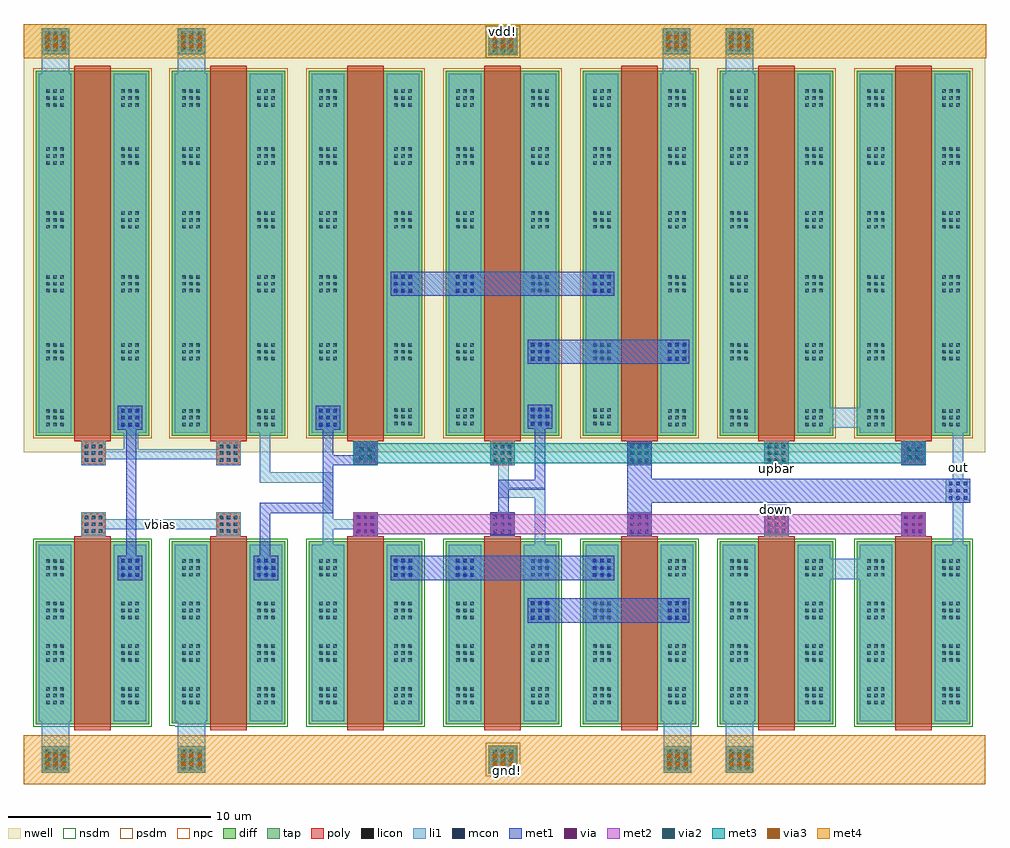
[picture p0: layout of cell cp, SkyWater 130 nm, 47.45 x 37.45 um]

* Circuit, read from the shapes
.subckt cp down gnd! out upbar vbias vdd!
XM1 n1 vbias gnd! gnd! sky130_fd_pr__nfet_01v8 w=9 l=1.8
XM2 n2 vbias gnd! gnd! sky130_fd_pr__nfet_01v8 w=9 l=1.8
XM3 n3 n4 n4 gnd! sky130_fd_pr__nfet_01v8 w=9 l=1.8
XM4 gnd! vdd! n3 gnd! sky130_fd_pr__nfet_01v8 w=9 l=1.8
XM5 gnd! out n3 gnd! sky130_fd_pr__nfet_01v8 w=9 l=1.8
XM6 n5 down gnd! gnd! sky130_fd_pr__nfet_01v8 w=9 l=1.8
XM7 out n4 n5 gnd! sky130_fd_pr__nfet_01v8 w=9 l=1.8
XM8 n1 n1 vdd! vdd! sky130_fd_pr__pfet_01v8 w=18 l=1.8
XM9 n4 n1 vdd! vdd! sky130_fd_pr__pfet_01v8 w=18 l=1.8
XM10 n6 n2 n2 vdd! sky130_fd_pr__pfet_01v8 w=18 l=1.8
XM11 vdd! gnd! n6 vdd! sky130_fd_pr__pfet_01v8 w=18 l=1.8
XM12 vdd! out n6 vdd! sky130_fd_pr__pfet_01v8 w=18 l=1.8
XM13 n7 upbar vdd! vdd! sky130_fd_pr__pfet_01v8 w=18 l=1.8
XM14 out n2 n7 vdd! sky130_fd_pr__pfet_01v8 w=18 l=1.8
.ends

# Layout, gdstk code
import gdstk
lib = gdstk.Library(unit=1e-6, precision=1e-09)
def R(c, l, rs):  # rectangles x0, y0, x1, y1
    for r in rs: c.add(gdstk.rectangle(r[:2], r[2:], *l))
def A(c, l, x, y, w, h, nx, ny, dx, dy):  # array of equal rectangles
    R(c, l, [(x+i*dx, y+j*dy, x+i*dx+w, y+j*dy+h) for i in range(nx) for j in range(ny)])
nwell = (64, 20)
diff = (65, 20)
tap = (65, 44)
poly = (66, 20)
licon = (66, 44)
li1 = (67, 20)
mcon = (67, 44)
met1 = (68, 20)
via = (68, 44)
met2 = (69, 20)
via2 = (69, 44)
met3 = (70, 20)
via3 = (70, 44)
met4 = (71, 20)
nsdm = (93, 44)
psdm = (94, 20)
npc = (95, 20)

c_cp = lib.new_cell('cp')
R(c_cp, nwell, [(-2.45,-0.8,44.95,18.6), (-2.45,18.6,45,20.3)])
A(c_cp, diff, 11.6, -14.2, 5.6, 9, 5, 1, 6.75, 0)
A(c_cp, diff, 4.85, 0, 5.6, 18, 6, 1, 6.75, 0)
R(c_cp, diff, [(-1.85,-14.2,3.75,-5.2), (5.15,-14.2,10.45,-14.15), (4.85,-14.15,10.45,-5.2), (-1.85,0,3.75,18)])
R(c_cp, tap, [(20.45,-16.65,21.9,-15.25), (20.45,18.75,21.9,20.1)])
A(c_cp, poly, 6.75, -14.5, 1.8, 9.55, 6, 1, 6.75, 0)
A(c_cp, poly, 7.05, -4.95, 1.2, 1.2, 6, 2, 6.75, 3.5)
A(c_cp, poly, 6.75, -0.25, 1.8, 18.5, 6, 1, 6.75, 0)
R(c_cp, poly, [(0.05,-14.5,1.85,-4.95), (0.4,-4.95,1.6,-3.75), (0.4,-1.45,1.6,-0.25), (0.05,-0.25,1.85,18.25)])
A(c_cp, licon, 20.75, -16.375, 0.17, 0.17, 3, 3, 0.34, 0.34)
A(c_cp, licon, -1.325, -13.225, 0.17, 0.17, 3, 3, 0.34, 0.34)
A(c_cp, licon, 2.375, -13.225, 0.17, 0.17, 3, 3, 0.34, 0.34)
A(c_cp, licon, 5.375, -13.225, 0.17, 0.17, 3, 3, 0.34, 0.34)
A(c_cp, licon, 9.075, -13.225, 0.17, 0.17, 3, 3, 0.34, 0.34)
A(c_cp, licon, 12.125, -13.225, 0.17, 0.17, 3, 3, 0.34, 0.34)
A(c_cp, licon, 15.825, -13.225, 0.17, 0.17, 3, 3, 0.34, 0.34)
A(c_cp, licon, 18.875, -13.225, 0.17, 0.17, 3, 3, 0.34, 0.34)
A(c_cp, licon, 22.575, -13.225, 0.17, 0.17, 3, 3, 0.34, 0.34)
A(c_cp, licon, 25.625, -13.225, 0.17, 0.17, 3, 3, 0.34, 0.34)
A(c_cp, licon, 29.325, -13.225, 0.17, 0.17, 3, 3, 0.34, 0.34)
A(c_cp, licon, 32.375, -13.225, 0.17, 0.17, 3, 3, 0.34, 0.34)
A(c_cp, licon, 36.075, -13.225, 0.17, 0.17, 3, 3, 0.34, 0.34)
A(c_cp, licon, 39.125, -13.225, 0.17, 0.17, 3, 3, 0.34, 0.34)
A(c_cp, licon, 42.825, -13.225, 0.17, 0.17, 3, 3, 0.34, 0.34)
A(c_cp, licon, -1.325, -11.125, 0.17, 0.17, 3, 3, 0.34, 0.34)
A(c_cp, licon, 2.375, -11.125, 0.17, 0.17, 3, 3, 0.34, 0.34)
A(c_cp, licon, 5.375, -11.125, 0.17, 0.17, 3, 3, 0.34, 0.34)
A(c_cp, licon, 9.075, -11.125, 0.17, 0.17, 3, 3, 0.34, 0.34)
A(c_cp, licon, 12.125, -11.125, 0.17, 0.17, 3, 3, 0.34, 0.34)
A(c_cp, licon, 15.825, -11.125, 0.17, 0.17, 3, 3, 0.34, 0.34)
A(c_cp, licon, 18.875, -11.125, 0.17, 0.17, 3, 3, 0.34, 0.34)
A(c_cp, licon, 22.575, -11.125, 0.17, 0.17, 3, 3, 0.34, 0.34)
A(c_cp, licon, 25.625, -11.125, 0.17, 0.17, 3, 3, 0.34, 0.34)
A(c_cp, licon, 29.325, -11.125, 0.17, 0.17, 3, 3, 0.34, 0.34)
A(c_cp, licon, 32.375, -11.125, 0.17, 0.17, 3, 3, 0.34, 0.34)
A(c_cp, licon, 36.075, -11.125, 0.17, 0.17, 3, 3, 0.34, 0.34)
A(c_cp, licon, 39.125, -11.125, 0.17, 0.17, 3, 3, 0.34, 0.34)
A(c_cp, licon, 42.825, -11.125, 0.17, 0.17, 3, 3, 0.34, 0.34)
A(c_cp, licon, -1.325, -9.025, 0.17, 0.17, 3, 3, 0.34, 0.34)
A(c_cp, licon, 2.375, -9.025, 0.17, 0.17, 3, 3, 0.34, 0.34)
A(c_cp, licon, 5.375, -9.025, 0.17, 0.17, 3, 3, 0.34, 0.34)
A(c_cp, licon, 9.075, -9.025, 0.17, 0.17, 3, 3, 0.34, 0.34)
A(c_cp, licon, 12.125, -9.025, 0.17, 0.17, 3, 3, 0.34, 0.34)
A(c_cp, licon, 15.825, -9.025, 0.17, 0.17, 3, 3, 0.34, 0.34)
A(c_cp, licon, 18.875, -9.025, 0.17, 0.17, 3, 3, 0.34, 0.34)
A(c_cp, licon, 22.575, -9.025, 0.17, 0.17, 3, 3, 0.34, 0.34)
A(c_cp, licon, 25.625, -9.025, 0.17, 0.17, 3, 3, 0.34, 0.34)
A(c_cp, licon, 29.325, -9.025, 0.17, 0.17, 3, 3, 0.34, 0.34)
A(c_cp, licon, 32.375, -9.025, 0.17, 0.17, 3, 3, 0.34, 0.34)
A(c_cp, licon, 36.075, -9.025, 0.17, 0.17, 3, 3, 0.34, 0.34)
A(c_cp, licon, 39.125, -9.025, 0.17, 0.17, 3, 3, 0.34, 0.34)
A(c_cp, licon, 42.825, -9.025, 0.17, 0.17, 3, 3, 0.34, 0.34)
A(c_cp, licon, -1.325, -6.925, 0.17, 0.17, 3, 3, 0.34, 0.34)
A(c_cp, licon, 2.375, -6.925, 0.17, 0.17, 3, 3, 0.34, 0.34)
A(c_cp, licon, 5.375, -6.925, 0.17, 0.17, 3, 3, 0.34, 0.34)
A(c_cp, licon, 9.075, -6.925, 0.17, 0.17, 3, 3, 0.34, 0.34)
A(c_cp, licon, 12.125, -6.925, 0.17, 0.17, 3, 3, 0.34, 0.34)
A(c_cp, licon, 15.825, -6.925, 0.17, 0.17, 3, 3, 0.34, 0.34)
A(c_cp, licon, 18.875, -6.925, 0.17, 0.17, 3, 3, 0.34, 0.34)
A(c_cp, licon, 22.575, -6.925, 0.17, 0.17, 3, 3, 0.34, 0.34)
A(c_cp, licon, 25.625, -6.925, 0.17, 0.17, 3, 3, 0.34, 0.34)
A(c_cp, licon, 29.325, -6.925, 0.17, 0.17, 3, 3, 0.34, 0.34)
A(c_cp, licon, 32.375, -6.925, 0.17, 0.17, 3, 3, 0.34, 0.34)
A(c_cp, licon, 36.075, -6.925, 0.17, 0.17, 3, 3, 0.34, 0.34)
A(c_cp, licon, 39.125, -6.925, 0.17, 0.17, 3, 3, 0.34, 0.34)
A(c_cp, licon, 42.825, -6.925, 0.17, 0.17, 3, 3, 0.34, 0.34)
A(c_cp, licon, 0.575, -4.775, 0.17, 0.17, 3, 3, 0.34, 0.34)
A(c_cp, licon, 7.225, -4.775, 0.17, 0.17, 3, 3, 0.34, 0.34)
A(c_cp, licon, 13.975, -4.775, 0.17, 0.17, 3, 3, 0.34, 0.34)
A(c_cp, licon, 20.725, -4.775, 0.17, 0.17, 3, 3, 0.34, 0.34)
A(c_cp, licon, 27.475, -4.775, 0.17, 0.17, 3, 3, 0.34, 0.34)
A(c_cp, licon, 34.225, -4.775, 0.17, 0.17, 3, 3, 0.34, 0.34)
A(c_cp, licon, 40.975, -4.775, 0.17, 0.17, 3, 3, 0.34, 0.34)
A(c_cp, licon, 0.575, -1.275, 0.17, 0.17, 3, 3, 0.34, 0.34)
A(c_cp, licon, 7.225, -1.275, 0.17, 0.17, 3, 3, 0.34, 0.34)
A(c_cp, licon, 13.975, -1.275, 0.17, 0.17, 3, 3, 0.34, 0.34)
A(c_cp, licon, 20.725, -1.275, 0.17, 0.17, 3, 3, 0.34, 0.34)
A(c_cp, licon, 27.475, -1.275, 0.17, 0.17, 3, 3, 0.34, 0.34)
A(c_cp, licon, 34.225, -1.275, 0.17, 0.17, 3, 3, 0.34, 0.34)
A(c_cp, licon, 40.975, -1.275, 0.17, 0.17, 3, 3, 0.34, 0.34)
A(c_cp, licon, -1.325, 0.475, 0.17, 0.17, 3, 3, 0.34, 0.34)
A(c_cp, licon, 2.375, 0.475, 0.17, 0.17, 3, 3, 0.34, 0.34)
A(c_cp, licon, 5.375, 0.475, 0.17, 0.17, 3, 3, 0.34, 0.34)
A(c_cp, licon, 9.075, 0.475, 0.17, 0.17, 3, 3, 0.34, 0.34)
A(c_cp, licon, 12.125, 0.475, 0.17, 0.17, 3, 3, 0.34, 0.34)
A(c_cp, licon, 29.325, 0.475, 0.17, 0.17, 3, 3, 0.34, 0.34)
A(c_cp, licon, 32.375, 0.475, 0.17, 0.17, 3, 3, 0.34, 0.34)
A(c_cp, licon, 36.075, 0.475, 0.17, 0.17, 3, 3, 0.34, 0.34)
A(c_cp, licon, 39.125, 0.475, 0.17, 0.17, 3, 3, 0.34, 0.34)
A(c_cp, licon, 42.825, 0.475, 0.17, 0.17, 3, 3, 0.34, 0.34)
A(c_cp, licon, 15.825, 0.525, 0.17, 0.17, 3, 3, 0.34, 0.34)
A(c_cp, licon, 18.875, 0.525, 0.17, 0.17, 3, 3, 0.34, 0.34)
A(c_cp, licon, 22.575, 0.525, 0.17, 0.17, 3, 3, 0.34, 0.34)
A(c_cp, licon, 25.625, 0.525, 0.17, 0.17, 3, 3, 0.34, 0.34)
A(c_cp, licon, -1.325, 3.725, 0.17, 0.17, 3, 3, 0.34, 0.34)
A(c_cp, licon, 2.375, 3.725, 0.17, 0.17, 3, 3, 0.34, 0.34)
A(c_cp, licon, 5.375, 3.725, 0.17, 0.17, 3, 3, 0.34, 0.34)
A(c_cp, licon, 9.075, 3.725, 0.17, 0.17, 3, 3, 0.34, 0.34)
A(c_cp, licon, 12.125, 3.725, 0.17, 0.17, 3, 3, 0.34, 0.34)
A(c_cp, licon, 15.825, 3.725, 0.17, 0.17, 3, 3, 0.34, 0.34)
A(c_cp, licon, 18.875, 3.725, 0.17, 0.17, 3, 3, 0.34, 0.34)
A(c_cp, licon, 22.575, 3.725, 0.17, 0.17, 3, 3, 0.34, 0.34)
A(c_cp, licon, 25.625, 3.725, 0.17, 0.17, 3, 3, 0.34, 0.34)
A(c_cp, licon, 29.325, 3.725, 0.17, 0.17, 3, 3, 0.34, 0.34)
A(c_cp, licon, 32.375, 3.725, 0.17, 0.17, 3, 3, 0.34, 0.34)
A(c_cp, licon, 36.075, 3.725, 0.17, 0.17, 3, 3, 0.34, 0.34)
A(c_cp, licon, 39.125, 3.725, 0.17, 0.17, 3, 3, 0.34, 0.34)
A(c_cp, licon, 42.825, 3.725, 0.17, 0.17, 3, 3, 0.34, 0.34)
A(c_cp, licon, -1.325, 7.075, 0.17, 0.17, 3, 3, 0.34, 0.34)
A(c_cp, licon, 2.375, 7.075, 0.17, 0.17, 3, 3, 0.34, 0.34)
A(c_cp, licon, 5.375, 7.075, 0.17, 0.17, 3, 3, 0.34, 0.34)
A(c_cp, licon, 9.075, 7.075, 0.17, 0.17, 3, 3, 0.34, 0.34)
A(c_cp, licon, 12.125, 7.075, 0.17, 0.17, 3, 3, 0.34, 0.34)
A(c_cp, licon, 15.825, 7.075, 0.17, 0.17, 3, 3, 0.34, 0.34)
A(c_cp, licon, 18.875, 7.075, 0.17, 0.17, 3, 3, 0.34, 0.34)
A(c_cp, licon, 22.575, 7.075, 0.17, 0.17, 3, 3, 0.34, 0.34)
A(c_cp, licon, 25.625, 7.075, 0.17, 0.17, 3, 3, 0.34, 0.34)
A(c_cp, licon, 29.325, 7.075, 0.17, 0.17, 3, 3, 0.34, 0.34)
A(c_cp, licon, 32.375, 7.075, 0.17, 0.17, 3, 3, 0.34, 0.34)
A(c_cp, licon, 36.075, 7.075, 0.17, 0.17, 3, 3, 0.34, 0.34)
A(c_cp, licon, 39.125, 7.075, 0.17, 0.17, 3, 3, 0.34, 0.34)
A(c_cp, licon, 42.825, 7.075, 0.17, 0.17, 3, 3, 0.34, 0.34)
A(c_cp, licon, -1.325, 10.225, 0.17, 0.17, 3, 3, 0.34, 0.34)
A(c_cp, licon, 2.375, 10.225, 0.17, 0.17, 3, 3, 0.34, 0.34)
A(c_cp, licon, 5.375, 10.225, 0.17, 0.17, 3, 3, 0.34, 0.34)
A(c_cp, licon, 9.075, 10.225, 0.17, 0.17, 3, 3, 0.34, 0.34)
A(c_cp, licon, 12.125, 10.225, 0.17, 0.17, 3, 3, 0.34, 0.34)
A(c_cp, licon, 15.825, 10.225, 0.17, 0.17, 3, 3, 0.34, 0.34)
A(c_cp, licon, 18.875, 10.225, 0.17, 0.17, 3, 3, 0.34, 0.34)
A(c_cp, licon, 22.575, 10.225, 0.17, 0.17, 3, 3, 0.34, 0.34)
A(c_cp, licon, 25.625, 10.225, 0.17, 0.17, 3, 3, 0.34, 0.34)
A(c_cp, licon, 29.325, 10.225, 0.17, 0.17, 3, 3, 0.34, 0.34)
A(c_cp, licon, 32.375, 10.225, 0.17, 0.17, 3, 3, 0.34, 0.34)
A(c_cp, licon, 36.075, 10.225, 0.17, 0.17, 3, 3, 0.34, 0.34)
A(c_cp, licon, 39.125, 10.225, 0.17, 0.17, 3, 3, 0.34, 0.34)
A(c_cp, licon, 42.825, 10.225, 0.17, 0.17, 3, 3, 0.34, 0.34)
A(c_cp, licon, -1.325, 13.375, 0.17, 0.17, 3, 3, 0.34, 0.34)
A(c_cp, licon, 2.375, 13.375, 0.17, 0.17, 3, 3, 0.34, 0.34)
A(c_cp, licon, 5.375, 13.375, 0.17, 0.17, 3, 3, 0.34, 0.34)
A(c_cp, licon, 9.075, 13.375, 0.17, 0.17, 3, 3, 0.34, 0.34)
A(c_cp, licon, 12.125, 13.375, 0.17, 0.17, 3, 3, 0.34, 0.34)
A(c_cp, licon, 15.825, 13.375, 0.17, 0.17, 3, 3, 0.34, 0.34)
A(c_cp, licon, 18.875, 13.375, 0.17, 0.17, 3, 3, 0.34, 0.34)
A(c_cp, licon, 22.575, 13.375, 0.17, 0.17, 3, 3, 0.34, 0.34)
A(c_cp, licon, 25.625, 13.375, 0.17, 0.17, 3, 3, 0.34, 0.34)
A(c_cp, licon, 29.325, 13.375, 0.17, 0.17, 3, 3, 0.34, 0.34)
A(c_cp, licon, 32.375, 13.375, 0.17, 0.17, 3, 3, 0.34, 0.34)
A(c_cp, licon, 36.075, 13.375, 0.17, 0.17, 3, 3, 0.34, 0.34)
A(c_cp, licon, 39.125, 13.375, 0.17, 0.17, 3, 3, 0.34, 0.34)
A(c_cp, licon, 42.825, 13.375, 0.17, 0.17, 3, 3, 0.34, 0.34)
A(c_cp, licon, -1.325, 16.225, 0.17, 0.17, 3, 3, 0.34, 0.34)
A(c_cp, licon, 2.375, 16.225, 0.17, 0.17, 3, 3, 0.34, 0.34)
A(c_cp, licon, 5.375, 16.225, 0.17, 0.17, 3, 3, 0.34, 0.34)
A(c_cp, licon, 9.075, 16.225, 0.17, 0.17, 3, 3, 0.34, 0.34)
A(c_cp, licon, 12.125, 16.225, 0.17, 0.17, 3, 3, 0.34, 0.34)
A(c_cp, licon, 15.825, 16.225, 0.17, 0.17, 3, 3, 0.34, 0.34)
A(c_cp, licon, 18.875, 16.225, 0.17, 0.17, 3, 3, 0.34, 0.34)
A(c_cp, licon, 22.575, 16.225, 0.17, 0.17, 3, 3, 0.34, 0.34)
A(c_cp, licon, 25.625, 16.225, 0.17, 0.17, 3, 3, 0.34, 0.34)
A(c_cp, licon, 29.325, 16.225, 0.17, 0.17, 3, 3, 0.34, 0.34)
A(c_cp, licon, 32.375, 16.225, 0.17, 0.17, 3, 3, 0.34, 0.34)
A(c_cp, licon, 36.075, 16.225, 0.17, 0.17, 3, 3, 0.34, 0.34)
A(c_cp, licon, 39.125, 16.225, 0.17, 0.17, 3, 3, 0.34, 0.34)
A(c_cp, licon, 42.825, 16.225, 0.17, 0.17, 3, 3, 0.34, 0.34)
A(c_cp, licon, 20.75, 18.975, 0.17, 0.17, 3, 3, 0.34, 0.34)
A(c_cp, li1, 20.55, -4.95, 1.2, 1.2, 4, 1, 6.75, 0)
A(c_cp, li1, 13.8, -1.45, 1.2, 1.2, 5, 1, 6.75, 0)
R(c_cp, li1, [(-1.55,-16.6,-0.2,-14.05), (5.15,-16.6,6.5,-14.05), (20.5,-16.6,21.85,-15.3), (29.1,-16.6,30.45,-14.05), (32.15,-16.6,33.5,-14.05), (-1.7,-14.05,-0.1,-5.35), (2,-14.05,3.6,-5.35), (5,-14.05,6.6,-5.35), (8.7,-14.05,10.3,-5.35), (11.75,-14.05,13.35,-5.35), (15.45,-14.05,17.05,-5.35), (18.5,-14.05,20.1,-5.35), (22.2,-14.05,23.8,-5.35), (25.25,-14.05,26.85,-5.35), (28.95,-14.05,30.55,-5.35), (32,-14.05,33.6,-5.35), (35.7,-14.05,37.3,-7.05), (38.75,-14.05,40.35,-7.05), (42.45,-14.05,44.05,-5.35), (35.7,-7.05,40.35,-6.05), (35.7,-6.05,37.3,-5.35), (38.75,-6.05,40.35,-5.35), (12.3,-5.35,12.8,-4.6), (22.75,-5.35,23.25,-3.05), (43.35,-5.35,43.85,-3.3), (0.4,-4.95,1.6,-4.6), (7.05,-4.95,8.25,-4.6), (13.8,-4.95,15,-4.6), (0.4,-4.6,8.25,-4.1), (12.3,-4.6,15,-4.1), (0.4,-4.1,1.6,-3.75), (7.05,-4.1,8.25,-3.75), (12.3,-4.1,12.8,-2.3), (13.8,-4.1,15,-3.75), (34.15,-3.75,35.15,-3.4), (43,-3.3,44.2,-2.1), (20.95,-3.05,23.25,-2.55), (20.95,-2.55,21.45,-1.45), (9.2,-2.3,12.8,-1.8), (43.35,-2.1,43.85,0.15), (9.2,-1.8,9.7,0.15), (34.15,-1.8,35.15,-1.45), (0.4,-1.45,1.6,-1.15), (7.05,-1.45,8.25,-1.15), (0.4,-1.15,8.25,-0.65), (0.4,-0.65,1.6,-0.25), (2.5,-0.65,3.2,0.15), (7.05,-0.65,8.25,-0.25), (-1.7,0.15,-0.1,17.85), (2,0.15,3.6,17.85), (5,0.15,6.6,17.85), (8.7,0.15,10.3,17.85), (11.75,0.15,13.35,17.85), (15.45,0.15,17.05,17.85), (18.5,0.15,20.1,17.85), (22.2,0.15,23.8,17.85), (25.25,0.15,26.85,17.85), (28.95,0.15,30.55,17.85), (32,0.15,33.6,17.85), (35.7,0.15,37.3,0.4), (38.75,0.15,40.35,0.4), (42.45,0.15,44.05,17.85), (35.7,0.4,40.35,1.4), (35.7,1.4,37.3,17.85), (38.75,1.4,40.35,17.85), (-1.55,17.85,-0.2,20.1), (5.15,17.85,6.5,20.1), (29.05,17.85,30.4,20.1), (32.15,17.85,33.5,20.1), (20.5,18.8,21.85,20.05)])
A(c_cp, mcon, -1.32, -16.395, 0.17, 0.17, 3, 3, 0.36, 0.36)
A(c_cp, mcon, 5.38, -16.395, 0.17, 0.17, 3, 3, 0.36, 0.36)
A(c_cp, mcon, 20.73, -16.395, 0.17, 0.17, 3, 3, 0.36, 0.36)
A(c_cp, mcon, 29.33, -16.395, 0.17, 0.17, 3, 3, 0.36, 0.36)
A(c_cp, mcon, 32.38, -16.395, 0.17, 0.17, 3, 3, 0.36, 0.36)
A(c_cp, mcon, 22.555, -9.045, 0.17, 0.17, 3, 3, 0.36, 0.36)
A(c_cp, mcon, 29.305, -9.045, 0.17, 0.17, 3, 3, 0.36, 0.36)
A(c_cp, mcon, 2.355, -6.945, 0.17, 0.17, 3, 3, 0.36, 0.36)
A(c_cp, mcon, 9.055, -6.945, 0.17, 0.17, 3, 3, 0.36, 0.36)
A(c_cp, mcon, 15.805, -6.945, 0.17, 0.17, 3, 3, 0.36, 0.36)
A(c_cp, mcon, 18.855, -6.945, 0.17, 0.17, 3, 3, 0.36, 0.36)
A(c_cp, mcon, 25.605, -6.945, 0.17, 0.17, 3, 3, 0.36, 0.36)
A(c_cp, mcon, 13.955, -4.795, 0.17, 0.17, 3, 3, 0.36, 0.36)
A(c_cp, mcon, 20.705, -4.795, 0.17, 0.17, 3, 3, 0.36, 0.36)
A(c_cp, mcon, 27.455, -4.795, 0.17, 0.17, 3, 3, 0.36, 0.36)
A(c_cp, mcon, 40.955, -4.795, 0.17, 0.17, 3, 3, 0.36, 0.36)
A(c_cp, mcon, 43.155, -3.145, 0.17, 0.17, 3, 3, 0.36, 0.36)
A(c_cp, mcon, 13.955, -1.295, 0.17, 0.17, 3, 3, 0.36, 0.36)
A(c_cp, mcon, 27.455, -1.295, 0.17, 0.17, 3, 3, 0.36, 0.36)
A(c_cp, mcon, 40.955, -1.295, 0.17, 0.17, 3, 3, 0.36, 0.36)
A(c_cp, mcon, 2.355, 0.455, 0.17, 0.17, 3, 3, 0.36, 0.36)
A(c_cp, mcon, 12.105, 0.455, 0.17, 0.17, 3, 3, 0.36, 0.36)
A(c_cp, mcon, 22.555, 0.505, 0.17, 0.17, 3, 3, 0.36, 0.36)
A(c_cp, mcon, 22.555, 3.705, 0.17, 0.17, 3, 3, 0.36, 0.36)
A(c_cp, mcon, 29.305, 3.705, 0.17, 0.17, 3, 3, 0.36, 0.36)
A(c_cp, mcon, 15.805, 7.055, 0.17, 0.17, 3, 3, 0.36, 0.36)
A(c_cp, mcon, 18.855, 7.055, 0.17, 0.17, 3, 3, 0.36, 0.36)
A(c_cp, mcon, 25.605, 7.055, 0.17, 0.17, 3, 3, 0.36, 0.36)
A(c_cp, mcon, 20.73, 18.955, 0.17, 0.17, 3, 3, 0.36, 0.36)
A(c_cp, mcon, -1.32, 19.005, 0.17, 0.17, 3, 3, 0.36, 0.36)
A(c_cp, mcon, 5.38, 19.005, 0.17, 0.17, 3, 3, 0.36, 0.36)
A(c_cp, mcon, 29.28, 19.005, 0.17, 0.17, 3, 3, 0.36, 0.36)
A(c_cp, mcon, 32.38, 19.005, 0.17, 0.17, 3, 3, 0.36, 0.36)
R(c_cp, met1, [(-1.55,-16.6,-0.2,-15.3), (5.15,-16.6,6.5,-15.3), (20.5,-16.6,21.85,-15.3), (29.1,-16.6,30.45,-15.3), (32.15,-16.6,33.5,-15.3), (22.4,-9.2,30.35,-8), (2.2,-7.1,3.4,-5.9), (8.9,-7.1,10.1,-5.9), (15.65,-7.1,26.65,-5.9), (2.6,-5.9,3.1,0.3), (9.2,-5.9,9.7,-3.8), (13.8,-4.95,15,-3.75), (27.3,-4.95,28.5,-3.3), (40.8,-4.95,42,-3.75), (20.55,-4.9,21.75,-3.75), (9.2,-3.8,12.8,-3.3), (20.95,-3.75,21.45,-2.65), (12.3,-3.3,12.8,-1.45), (27.3,-3.3,44.2,-2.1), (20.95,-2.65,23.25,-2.15), (22.75,-2.15,23.25,0.35), (27.3,-2.1,28.5,-0.25), (12.3,-1.45,15,-0.95), (40.8,-1.45,42,-0.25), (12.3,-0.95,12.8,0.3), (13.8,-0.95,15,-0.25), (2.2,0.3,3.4,1.5), (11.95,0.3,13.15,1.5), (22.4,0.35,23.6,1.55), (22.4,3.55,30.35,4.75), (15.65,6.9,26.65,8.1), (-1.55,18.8,-0.2,20.1), (5.15,18.8,6.5,20.1), (20.5,18.8,21.85,20.05), (29.05,18.8,30.4,20.1), (32.15,18.8,33.5,20.1)])
A(c_cp, via, -1.27, -16.345, 0.15, 0.15, 3, 3, 0.32, 0.32)
A(c_cp, via, 5.43, -16.345, 0.15, 0.15, 3, 3, 0.32, 0.32)
A(c_cp, via, 20.78, -16.345, 0.15, 0.15, 3, 3, 0.32, 0.32)
A(c_cp, via, 29.38, -16.345, 0.15, 0.15, 3, 3, 0.32, 0.32)
A(c_cp, via, 32.43, -16.345, 0.15, 0.15, 3, 3, 0.32, 0.32)
A(c_cp, via, 14.005, -4.745, 0.15, 0.15, 3, 3, 0.32, 0.32)
A(c_cp, via, 41.005, -4.745, 0.15, 0.15, 3, 3, 0.32, 0.32)
A(c_cp, via, 14.005, -1.245, 0.15, 0.15, 3, 3, 0.32, 0.32)
A(c_cp, via, 41.005, -1.245, 0.15, 0.15, 3, 3, 0.32, 0.32)
A(c_cp, via, 20.78, 19.005, 0.15, 0.15, 3, 3, 0.32, 0.32)
A(c_cp, via, -1.27, 19.055, 0.15, 0.15, 3, 3, 0.32, 0.32)
A(c_cp, via, 5.43, 19.055, 0.15, 0.15, 3, 3, 0.32, 0.32)
A(c_cp, via, 29.33, 19.055, 0.15, 0.15, 3, 3, 0.32, 0.32)
A(c_cp, via, 32.43, 19.055, 0.15, 0.15, 3, 3, 0.32, 0.32)
R(c_cp, met2, [(-1.55,-16.6,-0.2,-15.3), (5.15,-16.6,6.5,-15.3), (20.5,-16.6,21.85,-15.3), (29.1,-16.6,30.45,-15.3), (32.15,-16.6,33.5,-15.3), (13.8,-4.95,15,-4.85), (40.8,-4.95,42,-4.85), (13.8,-4.85,42,-3.85), (13.8,-3.85,15,-3.75), (40.8,-3.85,42,-3.75), (13.8,-1.45,15,-0.25), (40.8,-1.45,42,-0.25), (-1.55,18.8,-0.2,20.1), (5.15,18.8,6.5,20.1), (20.5,18.8,21.85,20.05), (29.05,18.8,30.4,20.1), (32.15,18.8,33.5,20.1)])
A(c_cp, via2, -1.375, -16.45, 0.2, 0.2, 3, 3, 0.4, 0.4)
A(c_cp, via2, 5.325, -16.45, 0.2, 0.2, 3, 3, 0.4, 0.4)
A(c_cp, via2, 20.675, -16.45, 0.2, 0.2, 3, 3, 0.4, 0.4)
A(c_cp, via2, 29.275, -16.45, 0.2, 0.2, 3, 3, 0.4, 0.4)
A(c_cp, via2, 32.325, -16.45, 0.2, 0.2, 3, 3, 0.4, 0.4)
A(c_cp, via2, 20.675, 18.9, 0.2, 0.2, 3, 3, 0.4, 0.4)
A(c_cp, via2, -1.375, 18.95, 0.2, 0.2, 3, 3, 0.4, 0.4)
A(c_cp, via2, 5.325, 18.95, 0.2, 0.2, 3, 3, 0.4, 0.4)
A(c_cp, via2, 29.225, 18.95, 0.2, 0.2, 3, 3, 0.4, 0.4)
A(c_cp, via2, 32.325, 18.95, 0.2, 0.2, 3, 3, 0.4, 0.4)
R(c_cp, via2, [(14.1,-1.15,14.3,-0.95), (14.5,-1.15,14.7,-0.95), (41.1,-1.15,41.3,-0.95), (41.5,-1.15,41.7,-0.95), (14.1,-0.75,14.3,-0.55), (14.5,-0.75,14.7,-0.55), (41.1,-0.75,41.3,-0.55), (41.5,-0.75,41.7,-0.55)])
R(c_cp, met3, [(-1.55,-16.6,-0.2,-15.3), (5.15,-16.6,6.5,-15.3), (20.5,-16.6,21.85,-15.3), (29.1,-16.6,30.45,-15.3), (32.15,-16.6,33.5,-15.3), (13.8,-1.45,15,-1.35), (40.8,-1.45,42,-1.35), (13.8,-1.35,42,-0.35), (13.8,-0.35,15,-0.25), (40.8,-0.35,42,-0.25), (-1.55,18.8,-0.2,20.1), (5.15,18.8,6.5,20.1), (20.5,18.8,21.85,20.05), (29.05,18.8,30.4,20.1), (32.15,18.8,33.5,20.1)])
A(c_cp, via3, -1.375, -16.25, 0.2, 0.2, 3, 2, 0.4, 0.4)
A(c_cp, via3, 5.325, -16.25, 0.2, 0.2, 3, 2, 0.4, 0.4)
A(c_cp, via3, 20.675, -16.25, 0.2, 0.2, 3, 2, 0.4, 0.4)
A(c_cp, via3, 29.275, -16.25, 0.2, 0.2, 3, 2, 0.4, 0.4)
A(c_cp, via3, 32.325, -16.25, 0.2, 0.2, 3, 2, 0.4, 0.4)
A(c_cp, via3, 20.675, 19.1, 0.2, 0.2, 3, 2, 0.4, 0.4)
A(c_cp, via3, -1.375, 19.15, 0.2, 0.2, 3, 2, 0.4, 0.4)
A(c_cp, via3, 5.325, 19.15, 0.2, 0.2, 3, 2, 0.4, 0.4)
A(c_cp, via3, 29.225, 19.15, 0.2, 0.2, 3, 2, 0.4, 0.4)
A(c_cp, via3, 32.325, 19.15, 0.2, 0.2, 3, 2, 0.4, 0.4)
R(c_cp, met4, [(-2.45,-17.15,44.95,-14.75), (-2.45,18.6,45,20.3)])
A(c_cp, nsdm, 11.475, -14.325, 5.85, 9.25, 5, 1, 6.75, 0)
R(c_cp, nsdm, [(-1.975,-14.325,3.875,-5.075), (5.025,-14.325,10.575,-14.275), (4.725,-14.275,10.575,-5.075), (20.325,18.625,22.025,20.225)])
A(c_cp, psdm, 4.725, -0.125, 5.85, 18.25, 6, 1, 6.75, 0)
R(c_cp, psdm, [(20.325,-16.775,22.025,-15.125), (-1.975,-0.125,3.875,18.125)])
A(c_cp, npc, 7.125, -4.875, 1.05, 1.05, 6, 2, 6.75, 3.5)
R(c_cp, npc, [(0.475,-4.875,1.525,-3.825), (0.475,-1.375,1.525,-0.325)])
c_cp.add(gdstk.Label('vbias', (4.3,-4.35), layer=67, texttype=5))
c_cp.add(gdstk.Label('vdd!', (21.15,19.95), layer=67, texttype=5))
c_cp.add(gdstk.Label('gnd!', (21.4,-16.5), layer=67, texttype=5))
c_cp.add(gdstk.Label('out', (43.6,-1.55), layer=67, texttype=5))
c_cp.add(gdstk.Label('down', (34.65,-3.6), layer=67, texttype=5))
c_cp.add(gdstk.Label('upbar', (34.65,-1.6), layer=67, texttype=5))

lib.write_gds('cp.gds')
